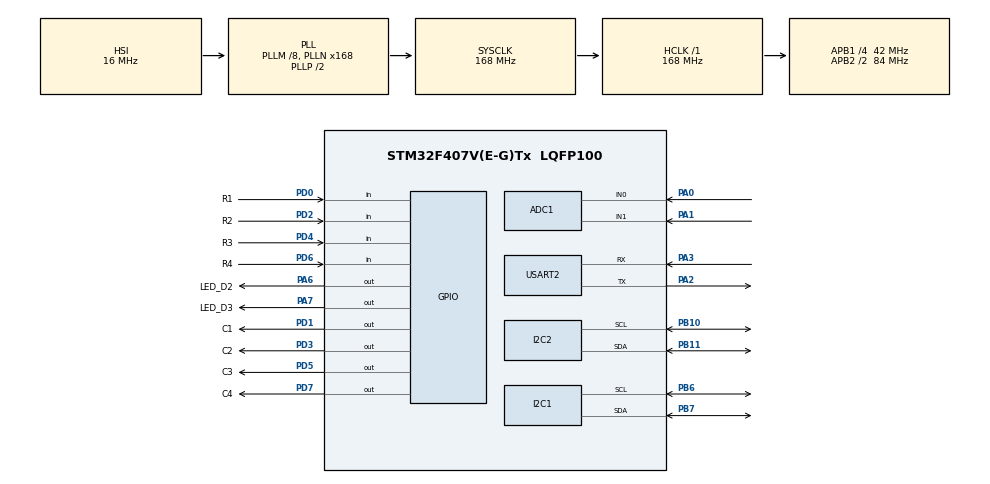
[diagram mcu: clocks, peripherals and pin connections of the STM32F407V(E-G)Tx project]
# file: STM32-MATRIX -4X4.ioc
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ADC1.Channel-0\#ChannelRegularConversion=ADC_CHANNEL_0
ADC1.Channel-1\#ChannelRegularConversion=ADC_CHANNEL_TEMPSENSOR
ADC1.Channel-2\#ChannelRegularConversion=ADC_CHANNEL_VREFINT
ADC1.Channel-3\#ChannelInjectedConversion=ADC_CHANNEL_0
ADC1.ContinuousConvMode=ENABLE
ADC1.InjNumberOfConversion=1
ADC1.InjectedOffset-3\#ChannelInjectedConversion=0
ADC1.InjectedRank-3\#ChannelInjectedConversion=1
ADC1.NbrOfConversion=3
ADC1.NbrOfConversionFlag=1
ADC1.Rank-0\#ChannelRegularConversion=1
ADC1.Rank-1\#ChannelRegularConversion=2
ADC1.Rank-2\#ChannelRegularConversion=3
ADC1.SamplingTime-0\#ChannelRegularConversion=ADC_SAMPLETIME_112CYCLES
ADC1.SamplingTime-1\#ChannelRegularConversion=ADC_SAMPLETIME_112CYCLES
ADC1.SamplingTime-2\#ChannelRegularConversion=ADC_SAMPLETIME_112CYCLES
ADC1.SamplingTime-3\#ChannelInjectedConversion=ADC_SAMPLETIME_112CYCLES
ADC1.master=1
Mcu.Family=STM32F4
Mcu.Name=STM32F407V(E-G)Tx
Mcu.Package=LQFP100
NVIC.PriorityGroup=NVIC_PRIORITYGROUP_4
PA0-WKUP.Signal=ADCx_IN0
PA1.Signal=ADCx_IN1
PA13.Mode=Serial_Wire
PA13.Signal=SYS_JTMS-SWDIO
PA14.Mode=Serial_Wire
PA14.Signal=SYS_JTCK-SWCLK
PA2.Mode=Asynchronous
PA2.Signal=USART2_TX
PA3.Mode=Asynchronous
PA3.Signal=USART2_RX
PA6.GPIO_Label=LED_D2
PA6.PinState=GPIO_PIN_SET
PA6.Signal=GPIO_Output
PA7.GPIO_Label=LED_D3
PA7.PinState=GPIO_PIN_SET
PA7.Signal=GPIO_Output
PB10.Mode=I2C
PB10.Signal=I2C2_SCL
PB11.Mode=I2C
PB11.Signal=I2C2_SDA
PB6.Mode=I2C
PB6.Signal=I2C1_SCL
PB7.Mode=I2C
PB7.Signal=I2C1_SDA
PC14-OSC32_IN.Mode=LSE-External-Oscillator
PC14-OSC32_IN.Signal=RCC_OSC32_IN
PC15-OSC32_OUT.Mode=LSE-External-Oscillator
PC15-OSC32_OUT.Signal=RCC_OSC32_OUT
PD0.GPIO_Label=R1
PD0.GPIO_PuPd=GPIO_PULLUP
PD0.Signal=GPIO_Input
PD1.GPIO_Label=C1
PD1.GPIO_PuPd=GPIO_NOPULL
PD1.PinState=GPIO_PIN_SET
PD1.Signal=GPIO_Output
PD2.GPIO_Label=R2
PD2.GPIO_PuPd=GPIO_PULLUP
PD2.Signal=GPIO_Input
PD3.GPIO_Label=C2
PD3.GPIO_PuPd=GPIO_NOPULL
PD3.PinState=GPIO_PIN_SET
PD3.Signal=GPIO_Output
PD4.GPIO_Label=R3
PD4.GPIO_PuPd=GPIO_PULLUP
PD4.Signal=GPIO_Input
PD5.GPIO_Label=C3
PD5.PinState=GPIO_PIN_SET
PD5.Signal=GPIO_Output
PD6.GPIO_Label=R4
PD6.GPIO_PuPd=GPIO_PULLUP
PD6.Signal=GPIO_Input
PD7.GPIO_Label=C4
PD7.GPIO_PuPd=GPIO_NOPULL
PD7.PinState=GPIO_PIN_SET
PD7.Signal=GPIO_Output
PH0-OSC_IN.Mode=HSE-External-Oscillator
PH0-OSC_IN.Signal=RCC_OSC_IN
PH1-OSC_OUT.Mode=HSE-External-Oscillator
PH1-OSC_OUT.Signal=RCC_OSC_OUT
ProjectManager.HeapSize=0x200
ProjectManager.StackSize=0x400
ProjectManager.TargetToolchain=MDK-ARM V5.32
RCC.48MHZClocksFreq_Value=84000000
RCC.AHBFreq_Value=168000000
RCC.APB1CLKDivider=RCC_HCLK_DIV4
RCC.APB1Freq_Value=42000000
RCC.APB1TimFreq_Value=84000000
RCC.APB2CLKDivider=RCC_HCLK_DIV2
RCC.APB2Freq_Value=84000000
RCC.APB2TimFreq_Value=168000000
RCC.CortexFreq_Value=168000000
RCC.HCLKFreq_Value=168000000
RCC.HSE_VALUE=8000000
RCC.HSI_VALUE=16000000
RCC.PLLM=8
RCC.PLLN=168
RCC.SYSCLKFreq_VALUE=168000000
RCC.SYSCLKSource=RCC_SYSCLKSOURCE_PLLCLK
RCC.VCOOutputFreq_Value=336000000
SH.ADCx_IN0.0=ADC1_IN0,IN0
SH.ADCx_IN1.0=ADC1_IN1,IN1
USART2.VirtualMode=VM_ASYNC
VP_ADC1_TempSens_Input.Mode=IN-TempSens
VP_ADC1_Vref_Input.Mode=IN-Vrefint
board=custom

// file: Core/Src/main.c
/* USER CODE BEGIN Header */
/**
  ******************************************************************************
  * @file           : main.c
  * @brief          : Main program body
  ******************************************************************************
  * @attention
  *
  * Copyright (c) 2023 STMicroelectronics.
  * All rights reserved.
  *
  * This software is licensed under terms that can be found in the LICENSE file
  * in the root directory of this software component.
  * If no LICENSE file comes with this software, it is provided AS-IS.
  *
  ******************************************************************************
  */
/* USER CODE END Header */
#include "main.h"
#include "adc.h"
#include "i2c.h"
#include "usart.h"
#include "gpio.h"

/* USER CODE BEGIN Includes */
#include "i2c-lcd.h"
#include "stdio.h"
/* USER CODE END Includes */

/* USER CODE BEGIN PTD */
typedef struct
{
	char password[6];
	char user[3][6];
	enum Mode {
		Mode_None = 0,
		Mode_Keypad = 1,
		Mode_NFC,
		Mode_Fingerprint,
		Mode_Sel,
		Mode_AddUser,
		Mode_ClearUser,
		Mode_Delete,
	} mode;
	enum Status {
		SMARTHOME_NG,
		SMARTHOME_OK,
	} status;
}SMARTHOME;
/* USER CODE END PTD */

/* USER CODE BEGIN PD */
#define ADDRESS_SLAVE_DHT20 0XA0
// quet thay dia chi la 0x50, dich trai 1 bit >> 0xA0
/* USER CODE END PD */

/* USER CODE BEGIN PV */

char buffer[20];
// su dung uart debug
	int fputc(int ch, FILE * f)
	{
		HAL_UART_Transmit( & huart2, (uint8_t * ) & ch, 1, HAL_MAX_DELAY);
		return ch;
	}

	int row,cow =0;
	uint32_t value_adc1 = 0;// khoi tao tung bien , gan vao chanel
	uint32_t value_adc2 = 0;
	uint32_t value_adc3 = 0;
	int Vol =0 ;

	int rank1=0;
	int number;
	char key;
	int dem=0;
	int gio,phut,giay;
	int status = 0;

	int MK ;
	char buffer[20];

	int	matrix_row ;  //debug printf LCD
	int matrix_col;

	SMARTHOME smarthome;
/* USER CODE END PV */

void SystemClock_Config(void);

/* USER CODE BEGIN 0 */
GPIO_TypeDef* row_port[4] = {ROW0_GPIO_Port, ROW1_GPIO_Port, ROW2_GPIO_Port, ROW3_GPIO_Port};
GPIO_TypeDef* col_port[4] = {COL0_GPIO_Port, COL1_GPIO_Port, COL2_GPIO_Port, COL3_GPIO_Port};

char scan_key()
{
	char keys [4][4] =
	{
		{'1', '2', '3', 'A'},
		{'4', '5', '6', 'B'},
		{'7', '8', '9', 'C'},
		{'*', '0', '#', 'D'},
	};
	// PHIA DUOI LA MATRIX 4X4
	char col_pin[4]={C1_Pin,C2_Pin,C3_Pin,C4_Pin};// quet cot
	char row_pin[4]={R1_Pin,R2_Pin,R3_Pin,R4_Pin};// quet hang
	// quet cot
	for (int col =0;col<4; col++)
	{

		HAL_GPIO_WritePin(GPIOD,col_pin[col],0);
		//quet hang
		for ( int row=0;row<4 ;row++)
		{
			if ( HAL_GPIO_ReadPin(GPIOD,row_pin[row]) ==0)
			{

				HAL_Delay(50);
				while ( HAL_GPIO_ReadPin(GPIOD,row_pin[row]) ==0)
				{
				}

				HAL_GPIO_WritePin(GPIOD,col_pin[col],1);
				matrix_row = row;  //debug printf LCD
				matrix_col = col;
				return keys [row][col];

			}

		}
		HAL_GPIO_WritePin(GPIOD,col_pin[col],1);
	}
 return 32;// 32 KY TU "SPACE" TRONG MA ACSII
}

int check_pass(int * sll_pass)
{
	smarthome.status = SMARTHOME_OK;

	for(int j = 0; j < *sll_pass; j++)
	{
		smarthome.status = SMARTHOME_OK;
		printf("smarthome.password[%d]!=smarthome.user[0][%d] > %d : %d \r\n", j,j,smarthome.password[j],smarthome.user[0][j]);
		if (smarthome.password[j]!=smarthome.user[0][j])
		{
			printf("Usser 1: Saiiiiiiiiii \r\n");
			smarthome.status = SMARTHOME_NG;
			break;
		}
	}

	if (smarthome.status == SMARTHOME_OK)
	{
		lcd_put_cur(1,0);
		lcd_send_string("User 1: OK       ");
		printf("User 1: OK        \r\n");
		return smarthome.status;
	}

	return smarthome.status;
}

void display_key(void)
{
		lcd_put_cur(0,0);
		lcd_send_string("Row : ");
		lcd_send_data(matrix_row +48 );

		lcd_put_cur(1,0);
		lcd_send_string("Col : ");
		lcd_send_data(matrix_col + 48 );

}

int status_mod =0;
void pass_fail(void)
{
			lcd_put_cur (1,0);
			lcd_send_string("PASS NOK");
			HAL_Delay(1000);
			lcd_put_cur (1,0);
			lcd_send_string("          ");
			HAL_Delay(1000);

}

int display_keypad()
{
		for(int i = 0; i <6; i++) //add test pass EEEPROM
		{
			smarthome.user[0][i] = '1';
			smarthome.user[1][i] = '2';
			smarthome.user[2][i] = '3';
		}

		int i = 0;

		while(smarthome.mode == Mode_Keypad)
		{
				lcd_put_cur(0,0);
				lcd_send_string("Nhap MK -> #");

				lcd_send_cmd (0x0F); //Display on/off control --> D = 1, C and B = 1. (Cursor and blink, last two bits)
				lcd_put_cur(1, i);

				key = scan_key();

				if ((47 < key) && (key < 58)) //phim so 48 -> 0, 57 -> 9
				{
					if (i < 6 ) // mode 6 so
					{
						printf("KeyNumber: %s \r\n", &key);
						smarthome.password[i] = key;
						lcd_send_data(key);
						i++;
					}
				}
				if ((i > 3) && (key == '#'))
				{
					printf("Kiem tra mat khau \r\n");

					if (check_pass(&i))
					{
						smarthome.status = SMARTHOME_OK;
						smarthome.mode = Mode_None;
						HAL_Delay(1000);
						lcd_clear();
						HAL_Delay(500);
						return smarthome.status;
					}
					else
					{
						printf("User 1: NG        \r\n");
						i = 0;
						lcd_put_cur(1,0);
						lcd_send_string("User 1: NG       ");
						HAL_Delay(1000);
						lcd_put_cur(1,0);
						lcd_send_string("                 ");
						HAL_Delay(500);
						smarthome.status = SMARTHOME_NG;
					}
				}
				HAL_Delay(100);
		}
		return smarthome.status;
}

void setup_mod(void)
{
	if (key=='*')
	{

		if (status_mod > 0)
		{
			status_mod--;
		}
	}
	else if (key=='#')
	{

		if (status_mod <2)
		{
			status_mod++;
		}
	}

}

/* USER CODE END 0 */

int main(void)
{

  /* MCU Configuration--------------------------------------------------------*/

  /* Reset of all peripherals, Initializes the Flash interface and the Systick. */
  HAL_Init();

  /* Configure the system clock */
  SystemClock_Config();

  /* Initialize all configured peripherals */
  MX_GPIO_Init();
  MX_I2C1_Init();
  MX_ADC1_Init();
  MX_I2C2_Init();
  MX_USART2_UART_Init();
  /* USER CODE BEGIN 2 */
	lcd_init ();

  /* USER CODE END 2 */

  /* Infinite loop */
  while (1)
  {

    /* USER CODE BEGIN 3 */
				key = scan_key();

   	if ((47 < key) && (key < 58)) //phim so 48 -> 0, 57 -> 9
		{
			printf("KeyNumber: %s \r\n", &key);

		}
		else if (key != 0x20)// cac phim chuc nang (loai tru 0x20 vi 0x20 la return khi k bam phim)
		{
			printf("KeyFunction: %s \r\n", &key);

			if (key == 'A')
			{
				lcd_clear();
				smarthome.mode = Mode_Keypad;
				printf("smarthome.mode: Mode_Keypad \r\n");
			}
			else if (key == 'D')
			{
				lcd_clear();
				smarthome.mode = Mode_Delete;
				printf("smarthome.mode: Mode_Delete \r\n");
			}

		}

		if (smarthome.mode == Mode_None)
		{
			lcd_put_cur(0,0);
			lcd_send_string("A: Mode_Keypad");
			lcd_put_cur(1,0);
			lcd_send_string("D: Mode_Delete");

			// lock door
			HAL_GPIO_WritePin(LED_D2_GPIO_Port, LED_D2_Pin, 1); // lock
		}
		else if (smarthome.mode == Mode_Keypad)
		{
			printf("Status mo cua: %d \r\n",display_keypad());
			if (display_keypad() == SMARTHOME_OK)
			{
				HAL_GPIO_WritePin(LED_D2_GPIO_Port, LED_D2_Pin,0 ); // open
				lcd_put_cur(0,0);
				lcd_send_string("Mode_Keypad:");
				lcd_put_cur(1,0);
				lcd_send_string("Open Door 5 Sec");
				HAL_Delay(5000);
				lcd_clear();
			}

		}
		else if (smarthome.mode == Mode_NFC)
		{
			//chua hoc
		}
		else if (smarthome.mode == Mode_Fingerprint)
		{
			// chua hoc
		}
		else if (smarthome.mode == Mode_Delete)
		{
			lcd_init();
			smarthome.mode = Mode_None;
			HAL_Delay(500);
		}

  }
  /* USER CODE END 3 */
}

void SystemClock_Config(void)
{
  RCC_OscInitTypeDef RCC_OscInitStruct = {0};
  RCC_ClkInitTypeDef RCC_ClkInitStruct = {0};

  /** Configure the main internal regulator output voltage
  */
  __HAL_RCC_PWR_CLK_ENABLE();
  __HAL_PWR_VOLTAGESCALING_CONFIG(PWR_REGULATOR_VOLTAGE_SCALE1);

  /** Initializes the RCC Oscillators according to the specified parameters
  * in the RCC_OscInitTypeDef structure.
  */
  RCC_OscInitStruct.OscillatorType = RCC_OSCILLATORTYPE_HSI;
  RCC_OscInitStruct.HSIState = RCC_HSI_ON;
  RCC_OscInitStruct.HSICalibrationValue = RCC_HSICALIBRATION_DEFAULT;
  RCC_OscInitStruct.PLL.PLLState = RCC_PLL_ON;
  RCC_OscInitStruct.PLL.PLLSource = RCC_PLLSOURCE_HSI;
  RCC_OscInitStruct.PLL.PLLM = 8;
  RCC_OscInitStruct.PLL.PLLN = 168;
  RCC_OscInitStruct.PLL.PLLP = RCC_PLLP_DIV2;
  RCC_OscInitStruct.PLL.PLLQ = 4;
  if (HAL_RCC_OscConfig(&RCC_OscInitStruct) != HAL_OK)
  {
    Error_Handler();
  }

  /** Initializes the CPU, AHB and APB buses clocks
  */
  RCC_ClkInitStruct.ClockType = RCC_CLOCKTYPE_HCLK|RCC_CLOCKTYPE_SYSCLK
                              |RCC_CLOCKTYPE_PCLK1|RCC_CLOCKTYPE_PCLK2;
  RCC_ClkInitStruct.SYSCLKSource = RCC_SYSCLKSOURCE_PLLCLK;
  RCC_ClkInitStruct.AHBCLKDivider = RCC_SYSCLK_DIV1;
  RCC_ClkInitStruct.APB1CLKDivider = RCC_HCLK_DIV4;
  RCC_ClkInitStruct.APB2CLKDivider = RCC_HCLK_DIV2;

  if (HAL_RCC_ClockConfig(&RCC_ClkInitStruct, FLASH_LATENCY_5) != HAL_OK)
  {
    Error_Handler();
  }
}

void Error_Handler(void)
{
  __disable_irq();
  while (1)
  {
  }
}
